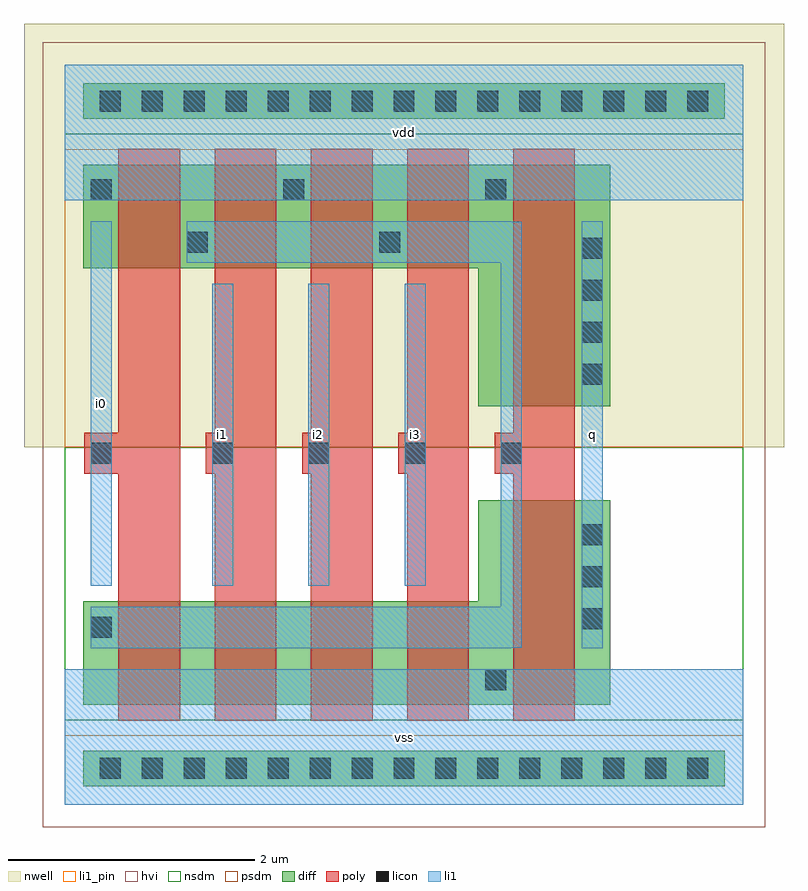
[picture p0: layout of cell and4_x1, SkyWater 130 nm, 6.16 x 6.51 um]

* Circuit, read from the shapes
.subckt and4_x1 i0 i1 i2 i3 q vdd vss
XM1 n1 i0 n2 VSUBS sky130_fd_pr__nfet_g5v0d10v5 w=0.84 l=0.5
XM2 n3 i1 n1 VSUBS sky130_fd_pr__nfet_g5v0d10v5 w=0.84 l=0.5
XM3 n4 i2 n3 VSUBS sky130_fd_pr__nfet_g5v0d10v5 w=0.84 l=0.5
XM4 vss i3 n4 VSUBS sky130_fd_pr__nfet_g5v0d10v5 w=0.84 l=0.5
XM5 q n2 vss VSUBS sky130_fd_pr__nfet_g5v0d10v5 w=1.66 l=0.5
XM6 n2 i0 vdd n5 sky130_fd_pr__pfet_g5v0d10v5 w=0.84 l=0.5
XM7 vdd i1 n2 n5 sky130_fd_pr__pfet_g5v0d10v5 w=0.84 l=0.5
XM8 n2 i2 vdd n5 sky130_fd_pr__pfet_g5v0d10v5 w=0.84 l=0.5
XM9 vdd i3 n2 n5 sky130_fd_pr__pfet_g5v0d10v5 w=0.84 l=0.5
XM10 q n2 vdd n5 sky130_fd_pr__pfet_g5v0d10v5 w=1.96 l=0.5
.ends

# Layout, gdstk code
import gdstk
lib = gdstk.Library(unit=1e-6, precision=1e-09)
def R(c, l, rs):  # rectangles x0, y0, x1, y1
    for r in rs: c.add(gdstk.rectangle(r[:2], r[2:], *l))
def A(c, l, x, y, w, h, nx, ny, dx, dy):  # array of equal rectangles
    R(c, l, [(x+i*dx, y+j*dy, x+i*dx+w, y+j*dy+h) for i in range(nx) for j in range(ny)])
def P(c, l, *ps):  # polygons
    for p in ps: c.add(gdstk.Polygon(p, *l))
nwell = (64, 20)
diff = (65, 20)
poly = (66, 20)
licon = (66, 44)
li1_pin = (67, 16)
li1 = (67, 20)
hvi = (75, 20)
nsdm = (93, 44)
psdm = (94, 20)

and4_x1 = lib.new_cell('and4_x1')
R(and4_x1, nwell, [(-0.33,2.9,5.83,6.33)])
R(and4_x1, diff, [(0.15,0.15,5.35,0.44), (0.15,5.56,5.35,5.85)])
P(and4_x1, diff, [(3.35,3.23),(3.35,4.35),(0.15,4.35),(0.15,5.19),(4.42,5.19),(4.42,3.23)],
  [(0.15,0.81),(0.15,1.65),(3.35,1.65),(3.35,2.47),(4.42,2.47),(4.42,0.81)])
P(and4_x1, poly, [(3.635,0.68),(3.635,2.685),(3.485,2.685),(3.485,3.015),(3.635,3.015),(3.635,5.32),(4.135,5.32),(4.135,0.68)],
  [(0.435,0.68),(0.435,2.685),(0.16,2.685),(0.16,3.015),(0.435,3.015),(0.435,5.32),(0.935,5.32),(0.935,0.68)],
  [(1.215,0.68),(1.215,2.685),(1.145,2.685),(1.145,3.015),(1.215,3.015),(1.215,5.32),(1.715,5.32),(1.715,0.68)],
  [(1.995,0.68),(1.995,2.685),(1.925,2.685),(1.925,3.015),(1.995,3.015),(1.995,5.32),(2.495,5.32),(2.495,0.68)],
  [(2.775,0.68),(2.775,2.685),(2.705,2.685),(2.705,3.015),(2.775,3.015),(2.775,5.32),(3.275,5.32),(3.275,0.68)])
A(and4_x1, licon, 0.285, 0.21, 0.17, 0.17, 15, 2, 0.34, 5.41)
A(and4_x1, licon, 4.19, 1.425, 0.17, 0.17, 1, 3, 0, 0.34)
A(and4_x1, licon, 1.195, 2.765, 0.17, 0.17, 4, 1, 0.78, 0)
A(and4_x1, licon, 4.19, 3.405, 0.17, 0.17, 1, 4, 0, 0.34)
R(and4_x1, licon, [(3.41,0.93,3.58,1.1), (0.21,1.355,0.38,1.525), (0.21,2.765,0.38,2.935), (0.99,4.475,1.16,4.645), (2.55,4.475,2.72,4.645), (0.21,4.9,0.38,5.07), (1.77,4.9,1.94,5.07), (3.41,4.9,3.58,5.07)])
A(and4_x1, li1_pin, 1.195, 1.775, 0.17, 2.45, 3, 1, 0.78, 0)
R(and4_x1, li1_pin, [(0,0,5.5,1.1), (4.19,1.27,4.36,4.73), (0.21,1.775,0.38,4.73), (0,4.9,5.5,6)])
A(and4_x1, li1, 1.195, 1.775, 0.17, 2.45, 3, 1, 0.78, 0)
R(and4_x1, li1, [(0,0,5.5,1.1), (4.19,1.27,4.36,4.73), (0.21,1.775,0.38,4.73), (0,4.9,5.5,6)])
P(and4_x1, li1, [(0.21,1.27),(0.21,1.605),(3.535,1.605),(3.535,4.395),(0.99,4.395),(0.99,4.73),(3.62,4.73),(3.62,4.725),(3.705,4.725),(3.705,1.275),(3.62,1.275),(3.62,1.27)])
R(and4_x1, hvi, [(-0.18,-0.18,5.68,6.18)])
R(and4_x1, nsdm, [(0,0.685,5.5,2.9), (0,5.435,5.5,6)])
R(and4_x1, psdm, [(0,0,5.5,0.565), (0,2.9,5.5,5.315)])
and4_x1.add(gdstk.Label('vdd', (2.75,5.45), layer=67, texttype=16))
and4_x1.add(gdstk.Label('vss', (2.75,0.55), layer=67, texttype=16))
and4_x1.add(gdstk.Label('i0', (0.295,3.253), layer=67, texttype=16))
and4_x1.add(gdstk.Label('i1', (1.28,3), layer=67, texttype=16))
and4_x1.add(gdstk.Label('i2', (2.06,3), layer=67, texttype=16))
and4_x1.add(gdstk.Label('i3', (2.84,3), layer=67, texttype=16))
and4_x1.add(gdstk.Label('q', (4.275,3), layer=67, texttype=16))

lib.write_gds('and4_x1.gds')
